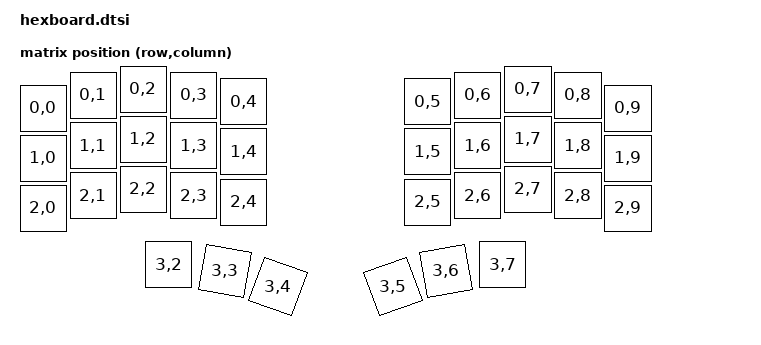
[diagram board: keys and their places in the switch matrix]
#include <dt-bindings/zmk/matrix_transform.h>
#include <physical_layouts.dtsi>

/ {
    default_transform: keymap_transform0 {
        compatible = "zmk,matrix-transform";
        columns = <10>;
        rows = <4>;
        map = <
        //  LKey 1 |LKey 2 |LKey 3 |LKey 4 |LKey 5             RKey 1 |RKey 2 |RKey 3 |RKey 4 |RKey 5                           
            RC(0,0) RC(0,1) RC(0,2) RC(0,3) RC(0,4)            RC(0,5) RC(0,6) RC(0,7) RC(0,8) RC(0,9)    
        //  LKey 6 |LKey 7 |LKey 8 |LKey 9 |LKey 10            RKey 6 |RKey 7 |RKey 8 |RKey 9 |RKey 10                           
            RC(1,0) RC(1,1) RC(1,2) RC(1,3) RC(1,4)            RC(1,5) RC(1,6) RC(1,7) RC(1,8) RC(1,9)
        //  LKey 11 |LKey 12 |LKey 13 |LKey 14 |LKey 15        RKey 11 |RKey 12 |RKey 13 |RKey 14 |RKey 15                           
            RC(2,0) RC(2,1) RC(2,2) RC(2,3) RC(2,4)            RC(2,5) RC(2,6) RC(2,7) RC(2,8) RC(2,9)
        //                    LKey 16 |LKey 17 |LKey 18        RKey 16 |RKey 17 |RKey 18                           
                            RC(3,2) RC(3,3) RC(3,4)            RC(3,5) RC(3,6) RC(3,7)
        >;
    };
};



/ {
    physical_layout0: physical_layout_0 { // First physical layout, use different naming for other layouts
        compatible = "zmk,physical-layout";
        display-name = "Default Layout";
        kscan = <&kscan0>; // Label of the kscan node, optional if all layouts use the same
        transform = <&default_transform>; // Label of the matrix transform for this layout

        keys  //                     w   h    x    y     rot    rx    ry
            = <&key_physical_attrs 100 100    0   38       0     0     0>
            , <&key_physical_attrs 100 100  100   12       0     0     0>
            , <&key_physical_attrs 100 100  200    0       0     0     0>
            , <&key_physical_attrs 100 100  301   12       0     0     0>
            , <&key_physical_attrs 100 100  401   25       0     0     0>
            , <&key_physical_attrs 100 100  769   25       0     0     0>
            , <&key_physical_attrs 100 100  869   12       0     0     0>
            , <&key_physical_attrs 100 100  970    0       0     0     0>
            , <&key_physical_attrs 100 100 1070   12       0     0     0>
            , <&key_physical_attrs 100 100 1170   38       0     0     0>
            , <&key_physical_attrs 100 100    0  138       0     0     0>
            , <&key_physical_attrs 100 100  100  113       0     0     0>
            , <&key_physical_attrs 100 100  200  100       0     0     0>
            , <&key_physical_attrs 100 100  301  113       0     0     0>
            , <&key_physical_attrs 100 100  401  125       0     0     0>
            , <&key_physical_attrs 100 100  769  125       0     0     0>
            , <&key_physical_attrs 100 100  869  113       0     0     0>
            , <&key_physical_attrs 100 100  970  100       0     0     0>
            , <&key_physical_attrs 100 100 1070  113       0     0     0>
            , <&key_physical_attrs 100 100 1170  138       0     0     0>
            , <&key_physical_attrs 100 100    0  238       0     0     0>
            , <&key_physical_attrs 100 100  100  213       0     0     0>
            , <&key_physical_attrs 100 100  200  200       0     0     0>
            , <&key_physical_attrs 100 100  301  213       0     0     0>
            , <&key_physical_attrs 100 100  401  226       0     0     0>
            , <&key_physical_attrs 100 100  769  226       0     0     0>
            , <&key_physical_attrs 100 100  869  213       0     0     0>
            , <&key_physical_attrs 100 100  970  200       0     0     0>
            , <&key_physical_attrs 100 100 1070  213       0     0     0>
            , <&key_physical_attrs 100 100 1170  238       0     0     0>
            , <&key_physical_attrs 100 100  251  351       0     0     0>
            , <&key_physical_attrs 100 100  364  364    1000   414   414>
            , <&key_physical_attrs 100 100  470  395    2000   520   445>
            , <&key_physical_attrs 100 100  700  395 (-2000)   750   445>
            , <&key_physical_attrs 100 100  806  364 (-1000)   856   414>
            , <&key_physical_attrs 100 100  919  351       0     0     0>
            ;
    };
};

/ {
    hexboard_position_map {
        compatible = "zmk,physical-layout-position-map";
        complete; // Optional, see 'Example non-complete position map'

        // Child node 1 here

        hexboard_map: hexboard {
            physical-layout = <&physical_layout0>;
            positions // This is equivalent to `positions = <0 1 2 3>;`, reshaped for readability
                = < 0  1  2  3  4  5  6  7  8  9>
                , < 10  11  12  13  14  15  16  17  18  19>
                , < 20  21  22  23  24  25  26  27  28  29>
                , < 30  31  32  33  34  35>
                ;
        };
    };
};

/ {
    chosen {
        zmk,physical-layout = &physical_layout0;
        // Other chosen items
        zmk,battery = &xiao_battery_voltage_divider;
    };

    xiao_battery_voltage_divider: vbatt {
        status = "okay";
        compatible = "zmk,battery-voltage-divider";
        label = "XIAO voltage divider";
        io-channels = <&adc 7>;
        output-ohms = <470000>;
        full-ohms =  <1470000>;
        power-gpios = <&gpio0 14 (GPIO_ACTIVE_LOW)>;
    };
};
